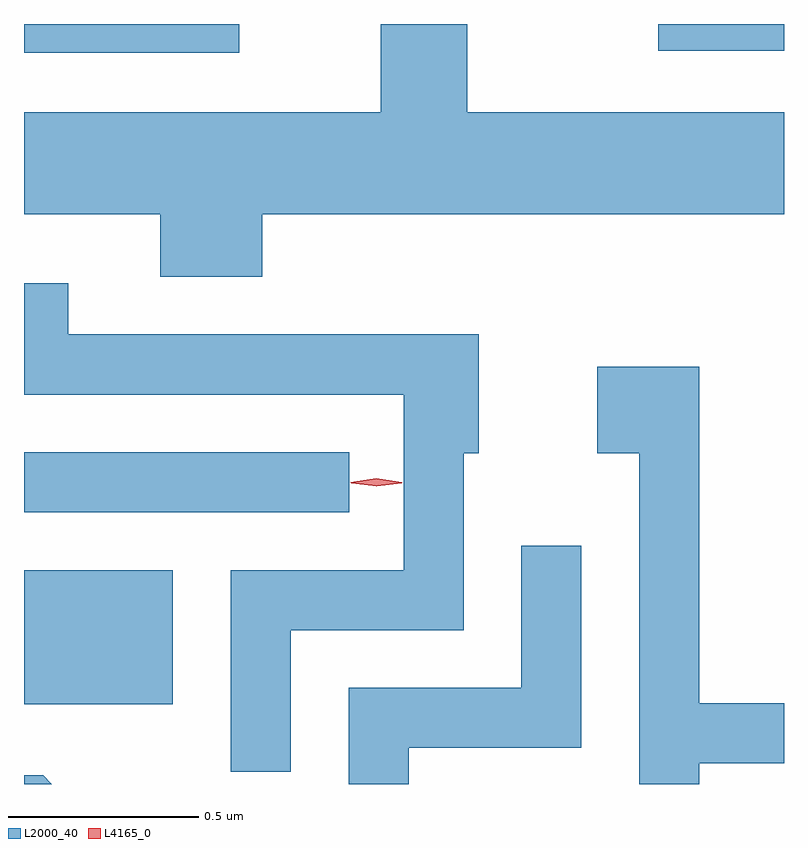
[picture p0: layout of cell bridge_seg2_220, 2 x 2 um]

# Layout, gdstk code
import gdstk
lib = gdstk.Library(unit=1e-6, precision=1e-09)
def R(c, l, rs):  # rectangles x0, y0, x1, y1
    for r in rs: c.add(gdstk.rectangle(r[:2], r[2:], *l))
def P(c, l, *ps):  # polygons
    for p in ps: c.add(gdstk.Polygon(p, *l))
L2000_40 = (2000, 40)
L4165_0 = (4165, 0)

bridge_seg2_220 = lib.new_cell('bridge_seg2_220')
R(bridge_seg2_220, L2000_40, [(1066.842,1035.926,1067.234,1036.279), (1066.842,1036.431,1067.698,1036.589), (1066.842,1037.641,1067.408,1037.716), (1068.511,1037.646,1068.842,1037.716)])
P(bridge_seg2_220, L2000_40, [(1067.469,1037.216),(1068.842,1037.216),(1068.842,1037.484),(1068.009,1037.484),(1068.009,1037.716),(1067.781,1037.716),(1067.781,1037.484),(1066.842,1037.484),(1066.842,1037.216),(1067.201,1037.216),(1067.201,1037.051),(1067.469,1037.051)],
  [(1067.544,1036.121),(1067.999,1036.121),(1067.999,1036.586),(1068.039,1036.586),(1068.039,1036.899),(1066.959,1036.899),(1066.959,1037.034),(1066.842,1037.034),(1066.842,1036.741),(1067.841,1036.741),(1067.841,1036.279),(1067.386,1036.279),(1067.386,1035.748),(1067.544,1035.748)],
  [(1068.619,1035.771),(1068.842,1035.771),(1068.842,1035.929),(1068.619,1035.929),(1068.619,1036.814),(1068.351,1036.814),(1068.351,1036.586),(1068.461,1036.586),(1068.461,1035.716),(1068.619,1035.716)],
  [(1067.854,1035.811),(1068.309,1035.811),(1068.309,1036.343),(1068.151,1036.343),(1068.151,1035.969),(1067.696,1035.969),(1067.696,1035.716),(1067.854,1035.716)],
  [(1066.892,1035.739),(1066.842,1035.739),(1066.842,1035.716),(1066.915,1035.716)])
P(bridge_seg2_220, L4165_0, [(1067.769,1036.5),(1067.7,1036.51),(1067.699,1036.51),(1067.7,1036.51),(1067.769,1036.52),(1067.838,1036.51),(1067.838,1036.51),(1067.838,1036.51)],
  [(1067.77,1036.499),(1067.703,1036.508),(1067.703,1036.509),(1067.703,1036.509),(1067.77,1036.519),(1067.836,1036.509),(1067.836,1036.509),(1067.836,1036.508)])

lib.write_gds('bridge_seg2_220.gds')
